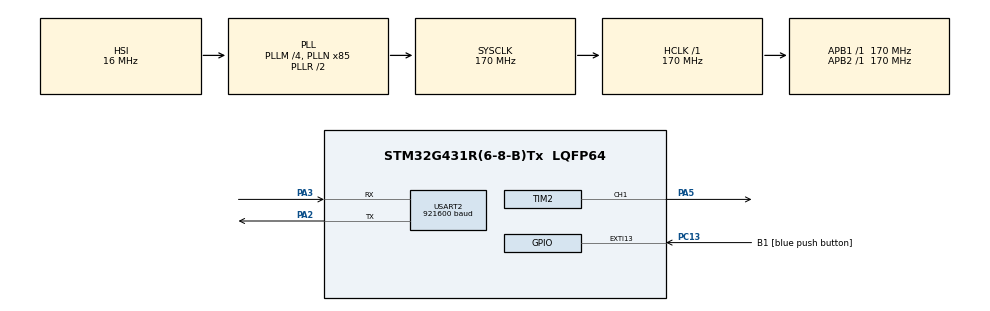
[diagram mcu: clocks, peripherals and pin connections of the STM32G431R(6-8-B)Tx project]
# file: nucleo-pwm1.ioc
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Mcu.Family=STM32G4
Mcu.Name=STM32G431R(6-8-B)Tx
Mcu.Package=LQFP64
NVIC.PriorityGroup=NVIC_PRIORITYGROUP_4
NVIC.USART2_IRQn=true\:0\:0\:false\:false\:true\:true\:true\:true
PA13.GPIO_Label=T_SWDIO
PA13.Signal=SYS_JTMS-SWDIO
PA14.GPIO_Label=T_SWCLK
PA14.Signal=SYS_JTCK-SWCLK
PA2.Mode=Asynchronous
PA2.Signal=USART2_TX
PA3.Mode=Asynchronous
PA3.Signal=USART2_RX
PA5.Signal=S_TIM2_CH1
PB3.GPIO_Label=T_SWO
PB3.Signal=SYS_JTDO-SWO
PC13.GPIO_Label=B1 [blue push button]
PC13.Signal=GPXTI13
PC14-OSC32_IN.GPIO_Label=RCC_OSC32_OUT
PC14-OSC32_IN.Signal=RCC_OSC32_IN
PC15-OSC32_OUT.GPIO_Label=RCC_OSC32_OUT
PC15-OSC32_OUT.Signal=RCC_OSC32_OUT
PF0-OSC_IN.GPIO_Label=RCC_OSC_IN
PF0-OSC_IN.Signal=RCC_OSC_IN
PF1-OSC_OUT.GPIO_Label=RCC_OSC_OUT
PF1-OSC_OUT.Signal=RCC_OSC_OUT
ProjectManager.HeapSize=0x200
ProjectManager.StackSize=0x400
ProjectManager.TargetToolchain=STM32CubeIDE
RCC.ADC12Freq_Value=170000000
RCC.AHBFreq_Value=170000000
RCC.APB1Freq_Value=170000000
RCC.APB1TimFreq_Value=170000000
RCC.APB2Freq_Value=170000000
RCC.APB2TimFreq_Value=170000000
RCC.CortexFreq_Value=170000000
RCC.EXTERNAL_CLOCK_VALUE=12288000
RCC.HCLKFreq_Value=170000000
RCC.HSE_VALUE=24000000
RCC.HSI48_VALUE=48000000
RCC.HSI_VALUE=16000000
RCC.LSE_VALUE=32768
RCC.PLLM=RCC_PLLM_DIV4
RCC.PLLN=85
RCC.RTCClockSelection=RCC_RTCCLKSOURCE_LSE
RCC.SYSCLKFreq_VALUE=170000000
RCC.SYSCLKSource=RCC_SYSCLKSOURCE_PLLCLK
RCC.USBFreq_Value=170000000
RCC.VCOOutputFreq_Value=340000000
SH.S_TIM2_CH1.0=TIM2_CH1,PWM Generation1 CH1
TIM2.Channel-PWM\ Generation1\ CH1=TIM_CHANNEL_1
TIM2.PeriodNoDither=1000-1
TIM2.Prescaler=1700-1
TIM2.PulseNoDither_1=0
USART2.BaudRate=921600
USART2.VirtualMode-Asynchronous=VM_ASYNC
VP_SYS_VS_DBSignals.Mode=DisableDeadBatterySignals
VP_TIM2_VS_ClockSourceINT.Mode=Internal
board=NUCLEO-G431RB

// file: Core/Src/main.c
/* USER CODE BEGIN Header */
/**
  ******************************************************************************
  * @file           : main.c
  * @brief          : Main program body
  ******************************************************************************
  * @attention
  *
  * Copyright (c) 2025 STMicroelectronics.
  * All rights reserved.
  *
  * This software is licensed under terms that can be found in the LICENSE file
  * in the root directory of this software component.
  * If no LICENSE file comes with this software, it is provided AS-IS.
  *
  ******************************************************************************
  */
/* USER CODE END Header */
#include "main.h"

/* USER CODE BEGIN Includes */
#include <stdio.h>

/* USER CODE END Includes */

TIM_HandleTypeDef htim2;

UART_HandleTypeDef huart2;

void SystemClock_Config(void);
static void MX_GPIO_Init(void);
static void MX_USART2_UART_Init(void);
static void MX_TIM2_Init(void);

/* USER CODE BEGIN 0 */
// Send printf to uart1
int _write(int fd, char* ptr, int len)
{
  HAL_StatusTypeDef hstatus;

  if (fd == 1 || fd == 2) {
    hstatus = HAL_UART_Transmit(&huart2, (uint8_t *) ptr, len, HAL_MAX_DELAY);
    if (hstatus == HAL_OK)
      return len;
    else
      return -1;
  }
  return -1;
}

/* USER CODE END 0 */

int main(void)
{

  /* MCU Configuration--------------------------------------------------------*/

  /* Reset of all peripherals, Initializes the Flash interface and the Systick. */
  HAL_Init();

  /* Configure the system clock */
  SystemClock_Config();

  /* Initialize all configured peripherals */
  MX_GPIO_Init();
  MX_USART2_UART_Init();
  MX_TIM2_Init();
  /* USER CODE BEGIN 2 */
  printf("\n\n");
  printf("Starting Nucleo-PWM1\n");
  printf("--------------------\n");

  printf("Starting timer channel\n");
  HAL_TIM_PWM_Start(&htim2, TIM_CHANNEL_1);

  //__HAL_TIM_SET_COMPARE(&htim2, TIM_CHANNEL_1, 500);

  /* USER CODE END 2 */

  /* Infinite loop */
  /* USER CODE BEGIN WHILE */
  uint32_t now = 0;
  uint32_t next_tick = 1000;
  uint32_t loop_count = 0;
  uint32_t next_change = 0;

  uint16_t pwm_value = 0;
  int8_t pwm_change = 1;

  while (1)
  {
	  now = HAL_GetTick();

	  if(now >= next_tick) {
		  printf("Tick %lu (loop = %lu)\n", now / 1000, loop_count);
		  printf("PWM value %u\n", pwm_value);

		  loop_count = 0;
		  next_tick = now + 1000;
	  }

	  if(now >= next_change) {

		  __HAL_TIM_SET_COMPARE(&htim2, TIM_CHANNEL_1, pwm_value);

		  pwm_value += pwm_change;

		  if(pwm_value == 0) pwm_change = 1;
		  if(pwm_value == 1000) pwm_change = -1;

		  next_change = now + 100;
	  }

	  ++loop_count;
    /* USER CODE END WHILE */

  }
}

void SystemClock_Config(void)
{
  RCC_OscInitTypeDef RCC_OscInitStruct = {0};
  RCC_ClkInitTypeDef RCC_ClkInitStruct = {0};

  /** Configure the main internal regulator output voltage
  */
  HAL_PWREx_ControlVoltageScaling(PWR_REGULATOR_VOLTAGE_SCALE1_BOOST);

  /** Initializes the RCC Oscillators according to the specified parameters
  * in the RCC_OscInitTypeDef structure.
  */
  RCC_OscInitStruct.OscillatorType = RCC_OSCILLATORTYPE_HSI;
  RCC_OscInitStruct.HSIState = RCC_HSI_ON;
  RCC_OscInitStruct.HSICalibrationValue = RCC_HSICALIBRATION_DEFAULT;
  RCC_OscInitStruct.PLL.PLLState = RCC_PLL_ON;
  RCC_OscInitStruct.PLL.PLLSource = RCC_PLLSOURCE_HSI;
  RCC_OscInitStruct.PLL.PLLM = RCC_PLLM_DIV4;
  RCC_OscInitStruct.PLL.PLLN = 85;
  RCC_OscInitStruct.PLL.PLLP = RCC_PLLP_DIV2;
  RCC_OscInitStruct.PLL.PLLQ = RCC_PLLQ_DIV2;
  RCC_OscInitStruct.PLL.PLLR = RCC_PLLR_DIV2;
  if (HAL_RCC_OscConfig(&RCC_OscInitStruct) != HAL_OK)
  {
    Error_Handler();
  }

  /** Initializes the CPU, AHB and APB buses clocks
  */
  RCC_ClkInitStruct.ClockType = RCC_CLOCKTYPE_HCLK|RCC_CLOCKTYPE_SYSCLK
                              |RCC_CLOCKTYPE_PCLK1|RCC_CLOCKTYPE_PCLK2;
  RCC_ClkInitStruct.SYSCLKSource = RCC_SYSCLKSOURCE_PLLCLK;
  RCC_ClkInitStruct.AHBCLKDivider = RCC_SYSCLK_DIV1;
  RCC_ClkInitStruct.APB1CLKDivider = RCC_HCLK_DIV1;
  RCC_ClkInitStruct.APB2CLKDivider = RCC_HCLK_DIV1;

  if (HAL_RCC_ClockConfig(&RCC_ClkInitStruct, FLASH_LATENCY_4) != HAL_OK)
  {
    Error_Handler();
  }
}

static void MX_TIM2_Init(void)
{

  TIM_ClockConfigTypeDef sClockSourceConfig = {0};
  TIM_MasterConfigTypeDef sMasterConfig = {0};
  TIM_OC_InitTypeDef sConfigOC = {0};

  htim2.Instance = TIM2;
  htim2.Init.Prescaler = 1700-1;
  htim2.Init.CounterMode = TIM_COUNTERMODE_UP;
  htim2.Init.Period = 999;
  htim2.Init.ClockDivision = TIM_CLOCKDIVISION_DIV1;
  htim2.Init.AutoReloadPreload = TIM_AUTORELOAD_PRELOAD_DISABLE;
  if (HAL_TIM_Base_Init(&htim2) != HAL_OK)
  {
    Error_Handler();
  }
  sClockSourceConfig.ClockSource = TIM_CLOCKSOURCE_INTERNAL;
  if (HAL_TIM_ConfigClockSource(&htim2, &sClockSourceConfig) != HAL_OK)
  {
    Error_Handler();
  }
  if (HAL_TIM_PWM_Init(&htim2) != HAL_OK)
  {
    Error_Handler();
  }
  sMasterConfig.MasterOutputTrigger = TIM_TRGO_RESET;
  sMasterConfig.MasterSlaveMode = TIM_MASTERSLAVEMODE_DISABLE;
  if (HAL_TIMEx_MasterConfigSynchronization(&htim2, &sMasterConfig) != HAL_OK)
  {
    Error_Handler();
  }
  sConfigOC.OCMode = TIM_OCMODE_PWM1;
  sConfigOC.Pulse = 0;
  sConfigOC.OCPolarity = TIM_OCPOLARITY_HIGH;
  sConfigOC.OCFastMode = TIM_OCFAST_DISABLE;
  if (HAL_TIM_PWM_ConfigChannel(&htim2, &sConfigOC, TIM_CHANNEL_1) != HAL_OK)
  {
    Error_Handler();
  }
  HAL_TIM_MspPostInit(&htim2);

}

static void MX_USART2_UART_Init(void)
{

  huart2.Instance = USART2;
  huart2.Init.BaudRate = 921600;
  huart2.Init.WordLength = UART_WORDLENGTH_8B;
  huart2.Init.StopBits = UART_STOPBITS_1;
  huart2.Init.Parity = UART_PARITY_NONE;
  huart2.Init.Mode = UART_MODE_TX_RX;
  huart2.Init.HwFlowCtl = UART_HWCONTROL_NONE;
  huart2.Init.OverSampling = UART_OVERSAMPLING_16;
  huart2.Init.OneBitSampling = UART_ONE_BIT_SAMPLE_DISABLE;
  huart2.Init.ClockPrescaler = UART_PRESCALER_DIV1;
  huart2.AdvancedInit.AdvFeatureInit = UART_ADVFEATURE_NO_INIT;
  if (HAL_UART_Init(&huart2) != HAL_OK)
  {
    Error_Handler();
  }
  if (HAL_UARTEx_SetTxFifoThreshold(&huart2, UART_TXFIFO_THRESHOLD_1_8) != HAL_OK)
  {
    Error_Handler();
  }
  if (HAL_UARTEx_SetRxFifoThreshold(&huart2, UART_RXFIFO_THRESHOLD_1_8) != HAL_OK)
  {
    Error_Handler();
  }
  if (HAL_UARTEx_DisableFifoMode(&huart2) != HAL_OK)
  {
    Error_Handler();
  }

}

static void MX_GPIO_Init(void)
{
  GPIO_InitTypeDef GPIO_InitStruct = {0};

  /* GPIO Ports Clock Enable */
  __HAL_RCC_GPIOC_CLK_ENABLE();
  __HAL_RCC_GPIOF_CLK_ENABLE();
  __HAL_RCC_GPIOA_CLK_ENABLE();
  __HAL_RCC_GPIOB_CLK_ENABLE();

  /*Configure GPIO pin : B1_Pin */
  GPIO_InitStruct.Pin = B1_Pin;
  GPIO_InitStruct.Mode = GPIO_MODE_IT_RISING;
  GPIO_InitStruct.Pull = GPIO_NOPULL;
  HAL_GPIO_Init(B1_GPIO_Port, &GPIO_InitStruct);

}

void Error_Handler(void)
{
  __disable_irq();
  while (1)
  {
  }
}
